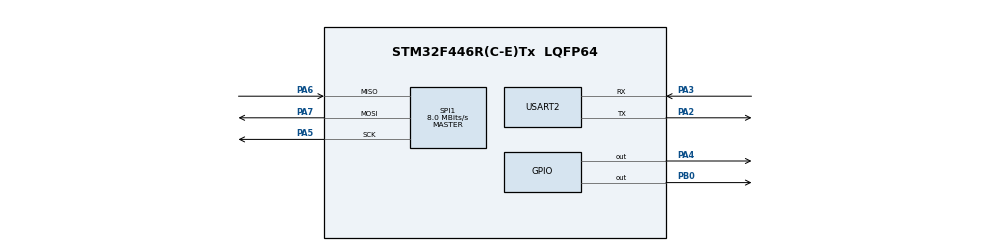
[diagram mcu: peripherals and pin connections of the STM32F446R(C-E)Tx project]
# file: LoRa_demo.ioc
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Mcu.Family=STM32F4
Mcu.Name=STM32F446R(C-E)Tx
Mcu.Package=LQFP64
NVIC.PriorityGroup=NVIC_PRIORITYGROUP_4
PA2.Mode=Asynchronous
PA2.Signal=USART2_TX
PA3.Mode=Asynchronous
PA3.Signal=USART2_RX
PA4.Signal=GPIO_Output
PA5.Mode=Full_Duplex_Master
PA5.Signal=SPI1_SCK
PA6.Mode=Full_Duplex_Master
PA6.Signal=SPI1_MISO
PA7.Mode=Full_Duplex_Master
PA7.Signal=SPI1_MOSI
PB0.Signal=GPIO_Output
ProjectManager.HeapSize=0x200
ProjectManager.StackSize=0x400
ProjectManager.TargetToolchain=STM32CubeIDE
RCC.CortexFreq_Value=16000000
RCC.USBFreq_Value=96000000
RCC.VCOOutputFreq_Value=192000000
SPI1.CalculateBaudRate=8.0 MBits/s
SPI1.Direction=SPI_DIRECTION_2LINES
SPI1.Mode=SPI_MODE_MASTER
SPI1.VirtualType=VM_MASTER
USART2.VirtualMode=VM_ASYNC
board=custom

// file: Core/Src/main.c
/* USER CODE BEGIN Header */
/**
  ******************************************************************************
  * @file           : main.c
  * @brief          : Main program body
  ******************************************************************************
  * @attention
  *
  * <h2><center>&copy; Copyright (c) 2020 STMicroelectronics.
  * All rights reserved.</center></h2>
  *
  * This software component is licensed by ST under BSD 3-Clause license,
  * the "License"; You may not use this file except in compliance with the
  * License. You may obtain a copy of the License at:
  *                        opensource.org/licenses/BSD-3-Clause
  *
  ******************************************************************************
  */
/* USER CODE END Header */

#include "main.h"

/* USER CODE BEGIN Includes */
#include"lora.h"
#include <string.h>
#include <stdio.h>
/* USER CODE END Includes */

/* USER CODE BEGIN PM */
#define TX																		// Uncomment for Transmission
//#define RX
/* USER CODE END PM */

SPI_HandleTypeDef hspi1;

UART_HandleTypeDef huart2;

/* USER CODE BEGIN PV */
lora_pins_t lora_pins;												// Structure variable for lora pins
lora_t lora;																	// Structure variable for lora

char msg[64];
/* USER CODE END PV */

void SystemClock_Config(void);
static void MX_GPIO_Init(void);
static void MX_SPI1_Init(void);
static void MX_USART2_UART_Init(void);

int main(void)
{

  /* MCU Configuration--------------------------------------------------------*/

  /* Reset of all peripherals, Initializes the Flash interface and the Systick. */
  HAL_Init();

  /* Configure the system clock */
  SystemClock_Config();

  /* Initialize all configured peripherals */
  MX_GPIO_Init();
  MX_SPI1_Init();
  MX_USART2_UART_Init();
  /* USER CODE BEGIN 2 */
  char buf[20];
    lora_pins.dio0.port  = LORA_DIO0_PORT;
    lora_pins.dio0.pin   = LORA_DIO0_PIN;
    lora_pins.nss.port   = LORA_SS_PORT;				// NSS pin to which port is connected
  	lora_pins.nss.pin    = LORA_SS_PIN;					// NSS pin to which pin is connected
  	lora_pins.reset.port = LORA_RESET_PORT;			// RESET pin to which port is connected
  	lora_pins.reset.pin  = LORA_RESET_PIN;			// RESET pin to which pin is connected
  	lora_pins.spi  			 = &hspi1;

  	lora.pin = &lora_pins;
  	//lora.frequency = FREQ_433MHZ;								// 433MHZ Frequency
  	//lora.frequency = FREQ_865MHZ;								// 865MHZ Frequency
  	lora.frequency = FREQ_866MHZ;								// 866MHZ Frequency
  	//lora.frequency = FREQ_867MHZ;								// 867MHZ Frequency

  	sprintf(msg,"Configuring LoRa module\r\n");
  	HAL_UART_Transmit(&huart2,(uint8_t *)msg,strlen(msg),1000);

  	while(lora_init(&lora)){										// Initialize the lora module
  		sprintf(msg,"LoRa Failed\r\n");
  		HAL_UART_Transmit(&huart2,(uint8_t *)msg,strlen(msg),1000);
  		HAL_Delay(1000);
  	}
  	sprintf(msg,"Done configuring LoRaModule\r\n");
  	HAL_UART_Transmit(&huart2,(uint8_t *)msg,strlen(msg),1000);

  	#ifdef TX
  	uint16_t count =0;
  	sprintf(buf,"Kiran");
  	//#else
  	//uint8_t ret;
  	#endif
  /* USER CODE END 2 */

  /* Infinite loop */
  while (1)
  {

    /* USER CODE BEGIN 3 */
    #ifdef TX
		lora_begin_packet(&lora);
		lora_tx(&lora, (uint8_t *)buf, strlen(buf));
		lora_end_packet(&lora);
		sprintf(msg,"Sending packet %d\r\n",count++);
		HAL_UART_Transmit(&huart2,(uint8_t *)msg,strlen(msg),1000);
		HAL_Delay(1000);
		#endif

		#ifdef RX
		uint8_t ret;
		ret = lora_prasePacket(&lora);
		if(ret){
			uint8_t i=0;
			while(lora_available(&lora)){
				buf[i] = lora_read(&lora);
				i++;
			}
			buf[i] = '\0';
			sprintf(msg,"%s\r\n",buf);
			HAL_UART_Transmit(&huart2,(uint8_t *)msg,strlen(msg),1000);
		}
		#endif
  }
  /* USER CODE END 3 */
}

void SystemClock_Config(void)
{
  RCC_OscInitTypeDef RCC_OscInitStruct = {0};
  RCC_ClkInitTypeDef RCC_ClkInitStruct = {0};

  /** Configure the main internal regulator output voltage
  */
  __HAL_RCC_PWR_CLK_ENABLE();
  __HAL_PWR_VOLTAGESCALING_CONFIG(PWR_REGULATOR_VOLTAGE_SCALE3);
  /** Initializes the CPU, AHB and APB busses clocks
  */
  RCC_OscInitStruct.OscillatorType = RCC_OSCILLATORTYPE_HSI;
  RCC_OscInitStruct.HSIState = RCC_HSI_ON;
  RCC_OscInitStruct.HSICalibrationValue = RCC_HSICALIBRATION_DEFAULT;
  RCC_OscInitStruct.PLL.PLLState = RCC_PLL_NONE;
  if (HAL_RCC_OscConfig(&RCC_OscInitStruct) != HAL_OK)
  {
    Error_Handler();
  }
  /** Initializes the CPU, AHB and APB busses clocks
  */
  RCC_ClkInitStruct.ClockType = RCC_CLOCKTYPE_HCLK|RCC_CLOCKTYPE_SYSCLK
                              |RCC_CLOCKTYPE_PCLK1|RCC_CLOCKTYPE_PCLK2;
  RCC_ClkInitStruct.SYSCLKSource = RCC_SYSCLKSOURCE_HSI;
  RCC_ClkInitStruct.AHBCLKDivider = RCC_SYSCLK_DIV1;
  RCC_ClkInitStruct.APB1CLKDivider = RCC_HCLK_DIV1;
  RCC_ClkInitStruct.APB2CLKDivider = RCC_HCLK_DIV1;

  if (HAL_RCC_ClockConfig(&RCC_ClkInitStruct, FLASH_LATENCY_0) != HAL_OK)
  {
    Error_Handler();
  }
}

static void MX_SPI1_Init(void)
{

  /* SPI1 parameter configuration*/
  hspi1.Instance = SPI1;
  hspi1.Init.Mode = SPI_MODE_MASTER;
  hspi1.Init.Direction = SPI_DIRECTION_2LINES;
  hspi1.Init.DataSize = SPI_DATASIZE_8BIT;
  hspi1.Init.CLKPolarity = SPI_POLARITY_LOW;
  hspi1.Init.CLKPhase = SPI_PHASE_1EDGE;
  hspi1.Init.NSS = SPI_NSS_SOFT;
  hspi1.Init.BaudRatePrescaler = SPI_BAUDRATEPRESCALER_2;
  hspi1.Init.FirstBit = SPI_FIRSTBIT_MSB;
  hspi1.Init.TIMode = SPI_TIMODE_DISABLE;
  hspi1.Init.CRCCalculation = SPI_CRCCALCULATION_DISABLE;
  hspi1.Init.CRCPolynomial = 10;
  if (HAL_SPI_Init(&hspi1) != HAL_OK)
  {
    Error_Handler();
  }

}

static void MX_USART2_UART_Init(void)
{

  huart2.Instance = USART2;
  huart2.Init.BaudRate = 115200;
  huart2.Init.WordLength = UART_WORDLENGTH_8B;
  huart2.Init.StopBits = UART_STOPBITS_1;
  huart2.Init.Parity = UART_PARITY_NONE;
  huart2.Init.Mode = UART_MODE_TX_RX;
  huart2.Init.HwFlowCtl = UART_HWCONTROL_NONE;
  huart2.Init.OverSampling = UART_OVERSAMPLING_16;
  if (HAL_UART_Init(&huart2) != HAL_OK)
  {
    Error_Handler();
  }

}

static void MX_GPIO_Init(void)
{
  GPIO_InitTypeDef GPIO_InitStruct = {0};

  /* GPIO Ports Clock Enable */
  __HAL_RCC_GPIOA_CLK_ENABLE();
  __HAL_RCC_GPIOB_CLK_ENABLE();

  /*Configure GPIO pin Output Level */
  HAL_GPIO_WritePin(GPIOA, GPIO_PIN_4, GPIO_PIN_RESET);

  /*Configure GPIO pin Output Level */
  HAL_GPIO_WritePin(GPIOB, GPIO_PIN_0, GPIO_PIN_RESET);

  /*Configure GPIO pin : PA4 */
  GPIO_InitStruct.Pin = GPIO_PIN_4;
  GPIO_InitStruct.Mode = GPIO_MODE_OUTPUT_PP;
  GPIO_InitStruct.Pull = GPIO_NOPULL;
  GPIO_InitStruct.Speed = GPIO_SPEED_FREQ_LOW;
  HAL_GPIO_Init(GPIOA, &GPIO_InitStruct);

  /*Configure GPIO pin : PB0 */
  GPIO_InitStruct.Pin = GPIO_PIN_0;
  GPIO_InitStruct.Mode = GPIO_MODE_OUTPUT_PP;
  GPIO_InitStruct.Pull = GPIO_NOPULL;
  GPIO_InitStruct.Speed = GPIO_SPEED_FREQ_LOW;
  HAL_GPIO_Init(GPIOB, &GPIO_InitStruct);

}

void Error_Handler(void)
{
}

/************************ (C) COPYRIGHT STMicroelectronics *****END OF FILE****/
